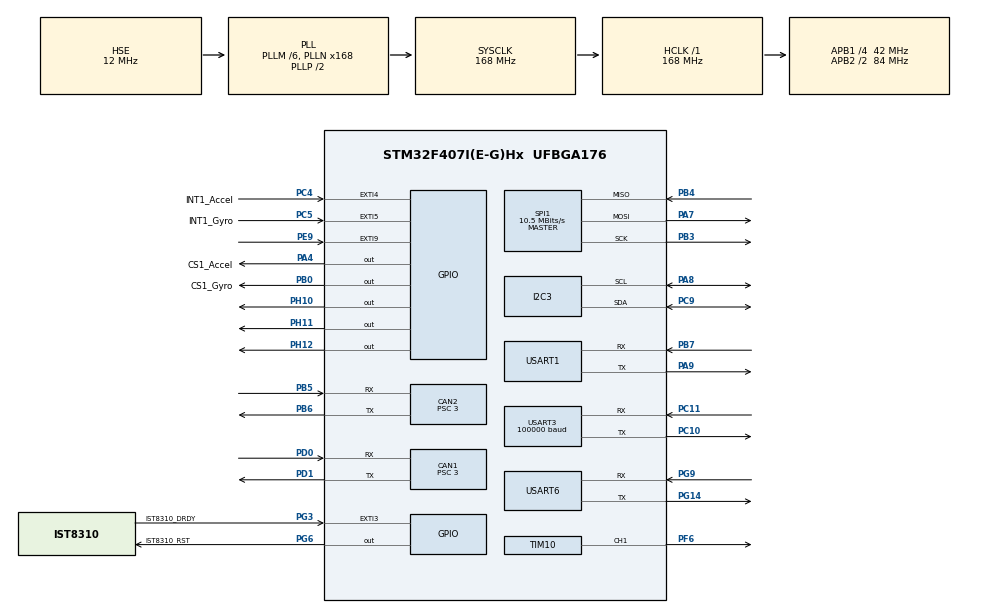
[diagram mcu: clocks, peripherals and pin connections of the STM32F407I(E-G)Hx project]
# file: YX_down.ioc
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CAN1.BS1=CAN_BS1_10TQ
CAN1.BS2=CAN_BS2_3TQ
CAN1.CalculateBaudRate=1000000
CAN1.CalculateTimeBit=1000
CAN1.CalculateTimeQuantum=71.42857142857143
CAN1.Prescaler=3
CAN2.BS1=CAN_BS1_10TQ
CAN2.BS2=CAN_BS2_3TQ
CAN2.CalculateBaudRate=1000000
CAN2.CalculateTimeBit=1000
CAN2.CalculateTimeQuantum=71.42857142857143
CAN2.Prescaler=3
Dma.Request0=USART1_RX
Dma.Request1=USART1_TX
Dma.Request2=USART6_RX
Dma.Request3=USART6_TX
Dma.Request4=USART3_RX
Dma.Request5=USART3_TX
Dma.Request6=SPI1_RX
Dma.Request7=SPI1_TX
Dma.SPI1_RX.6.Direction=DMA_PERIPH_TO_MEMORY
Dma.SPI1_RX.6.FIFOMode=DMA_FIFOMODE_DISABLE
Dma.SPI1_RX.6.Instance=DMA2_Stream0
Dma.SPI1_RX.6.MemDataAlignment=DMA_MDATAALIGN_BYTE
Dma.SPI1_RX.6.MemInc=DMA_MINC_ENABLE
Dma.SPI1_RX.6.Mode=DMA_NORMAL
Dma.SPI1_RX.6.PeriphDataAlignment=DMA_PDATAALIGN_BYTE
Dma.SPI1_RX.6.PeriphInc=DMA_PINC_DISABLE
Dma.SPI1_RX.6.Priority=DMA_PRIORITY_LOW
Dma.SPI1_TX.7.Direction=DMA_MEMORY_TO_PERIPH
Dma.SPI1_TX.7.FIFOMode=DMA_FIFOMODE_DISABLE
Dma.SPI1_TX.7.Instance=DMA2_Stream3
Dma.SPI1_TX.7.MemDataAlignment=DMA_MDATAALIGN_BYTE
Dma.SPI1_TX.7.MemInc=DMA_MINC_ENABLE
Dma.SPI1_TX.7.Mode=DMA_NORMAL
Dma.SPI1_TX.7.PeriphDataAlignment=DMA_PDATAALIGN_BYTE
Dma.SPI1_TX.7.PeriphInc=DMA_PINC_DISABLE
Dma.SPI1_TX.7.Priority=DMA_PRIORITY_LOW
Dma.USART1_RX.0.Direction=DMA_PERIPH_TO_MEMORY
Dma.USART1_RX.0.FIFOMode=DMA_FIFOMODE_DISABLE
Dma.USART1_RX.0.Instance=DMA2_Stream2
Dma.USART1_RX.0.MemDataAlignment=DMA_MDATAALIGN_BYTE
Dma.USART1_RX.0.MemInc=DMA_MINC_ENABLE
Dma.USART1_RX.0.Mode=DMA_CIRCULAR
Dma.USART1_RX.0.PeriphDataAlignment=DMA_PDATAALIGN_BYTE
Dma.USART1_RX.0.PeriphInc=DMA_PINC_DISABLE
Dma.USART1_RX.0.Priority=DMA_PRIORITY_VERY_HIGH
Dma.USART1_TX.1.Direction=DMA_MEMORY_TO_PERIPH
Dma.USART1_TX.1.FIFOMode=DMA_FIFOMODE_DISABLE
Dma.USART1_TX.1.Instance=DMA2_Stream7
Dma.USART1_TX.1.MemDataAlignment=DMA_MDATAALIGN_BYTE
Dma.USART1_TX.1.MemInc=DMA_MINC_ENABLE
Dma.USART1_TX.1.Mode=DMA_CIRCULAR
Dma.USART1_TX.1.PeriphDataAlignment=DMA_PDATAALIGN_BYTE
Dma.USART1_TX.1.PeriphInc=DMA_PINC_DISABLE
Dma.USART1_TX.1.Priority=DMA_PRIORITY_VERY_HIGH
Dma.USART3_RX.4.Direction=DMA_PERIPH_TO_MEMORY
Dma.USART3_RX.4.FIFOMode=DMA_FIFOMODE_DISABLE
Dma.USART3_RX.4.Instance=DMA1_Stream1
Dma.USART3_RX.4.MemDataAlignment=DMA_MDATAALIGN_BYTE
Dma.USART3_RX.4.MemInc=DMA_MINC_ENABLE
Dma.USART3_RX.4.Mode=DMA_CIRCULAR
Dma.USART3_RX.4.PeriphDataAlignment=DMA_PDATAALIGN_BYTE
Dma.USART3_RX.4.PeriphInc=DMA_PINC_DISABLE
Dma.USART3_RX.4.Priority=DMA_PRIORITY_VERY_HIGH
Dma.USART3_TX.5.Direction=DMA_MEMORY_TO_PERIPH
Dma.USART3_TX.5.FIFOMode=DMA_FIFOMODE_DISABLE
Dma.USART3_TX.5.Instance=DMA1_Stream3
Dma.USART3_TX.5.MemDataAlignment=DMA_MDATAALIGN_BYTE
Dma.USART3_TX.5.MemInc=DMA_MINC_ENABLE
Dma.USART3_TX.5.Mode=DMA_NORMAL
Dma.USART3_TX.5.PeriphDataAlignment=DMA_PDATAALIGN_BYTE
Dma.USART3_TX.5.PeriphInc=DMA_PINC_DISABLE
Dma.USART3_TX.5.Priority=DMA_PRIORITY_VERY_HIGH
Dma.USART6_RX.2.Direction=DMA_PERIPH_TO_MEMORY
Dma.USART6_RX.2.FIFOMode=DMA_FIFOMODE_DISABLE
Dma.USART6_RX.2.Instance=DMA2_Stream1
Dma.USART6_RX.2.MemDataAlignment=DMA_MDATAALIGN_BYTE
Dma.USART6_RX.2.MemInc=DMA_MINC_ENABLE
Dma.USART6_RX.2.Mode=DMA_NORMAL
Dma.USART6_RX.2.PeriphDataAlignment=DMA_PDATAALIGN_BYTE
Dma.USART6_RX.2.PeriphInc=DMA_PINC_DISABLE
Dma.USART6_RX.2.Priority=DMA_PRIORITY_VERY_HIGH
Dma.USART6_TX.3.Direction=DMA_MEMORY_TO_PERIPH
Dma.USART6_TX.3.FIFOMode=DMA_FIFOMODE_DISABLE
Dma.USART6_TX.3.Instance=DMA2_Stream6
Dma.USART6_TX.3.MemDataAlignment=DMA_MDATAALIGN_BYTE
Dma.USART6_TX.3.MemInc=DMA_MINC_ENABLE
Dma.USART6_TX.3.Mode=DMA_NORMAL
Dma.USART6_TX.3.PeriphDataAlignment=DMA_PDATAALIGN_BYTE
Dma.USART6_TX.3.PeriphInc=DMA_PINC_DISABLE
Dma.USART6_TX.3.Priority=DMA_PRIORITY_MEDIUM
FREERTOS.INCLUDE_uxTaskGetStackHighWaterMark=1
FREERTOS.Tasks01=defaultTask,0,128,StartDefaultTask,Default,NULL,Dynamic,NULL,NULL
I2C3.I2C_Mode=I2C_Fast
Mcu.Family=STM32F4
Mcu.Name=STM32F407I(E-G)Hx
Mcu.Package=UFBGA176
NVIC.CAN1_RX0_IRQn=true\:5\:0\:false\:false\:true\:true\:true\:true\:true
NVIC.CAN1_TX_IRQn=true\:5\:0\:false\:false\:true\:true\:true\:true\:true
NVIC.CAN2_RX0_IRQn=true\:5\:0\:false\:false\:true\:true\:true\:true\:true
NVIC.CAN2_TX_IRQn=true\:5\:0\:false\:false\:true\:true\:true\:true\:true
NVIC.DMA1_Stream1_IRQn=true\:5\:0\:false\:false\:true\:true\:false\:true\:true
NVIC.DMA1_Stream3_IRQn=true\:5\:0\:false\:false\:true\:true\:false\:true\:true
NVIC.DMA2_Stream0_IRQn=true\:5\:0\:false\:false\:true\:true\:false\:true\:true
NVIC.DMA2_Stream1_IRQn=true\:5\:0\:false\:false\:true\:true\:false\:true\:true
NVIC.DMA2_Stream2_IRQn=true\:5\:0\:false\:false\:true\:true\:false\:true\:true
NVIC.DMA2_Stream3_IRQn=true\:5\:0\:false\:false\:true\:true\:false\:true\:true
NVIC.DMA2_Stream6_IRQn=true\:5\:0\:false\:false\:true\:true\:false\:true\:true
NVIC.DMA2_Stream7_IRQn=true\:5\:0\:false\:false\:true\:true\:false\:true\:true
NVIC.EXTI3_IRQn=true\:5\:0\:false\:false\:true\:true\:true\:true\:true
NVIC.EXTI4_IRQn=true\:5\:0\:false\:false\:true\:true\:true\:true\:true
NVIC.EXTI9_5_IRQn=true\:5\:0\:false\:false\:true\:true\:true\:true\:true
NVIC.PriorityGroup=NVIC_PRIORITYGROUP_4
NVIC.SPI1_IRQn=true\:5\:0\:false\:false\:true\:true\:true\:true\:true
NVIC.TIM1_BRK_TIM9_IRQn=true\:5\:0\:false\:false\:true\:true\:true\:true\:true
NVIC.TIM2_IRQn=true\:5\:0\:false\:false\:true\:true\:true\:true\:true
NVIC.TIM3_IRQn=true\:15\:0\:false\:false\:true\:false\:false\:true\:true
NVIC.TIM8_BRK_TIM12_IRQn=true\:5\:0\:false\:false\:true\:true\:true\:true\:true
NVIC.TIM8_UP_TIM13_IRQn=true\:5\:0\:false\:false\:true\:true\:true\:true\:true
NVIC.TimeBase=TIM3_IRQn
NVIC.TimeBaseIP=TIM3
NVIC.USART1_IRQn=true\:5\:0\:false\:false\:true\:true\:true\:true\:true
NVIC.USART3_IRQn=true\:5\:0\:false\:false\:true\:true\:true\:true\:true
NVIC.USART6_IRQn=true\:5\:0\:false\:false\:true\:true\:true\:true\:true
PA13.Mode=Serial_Wire
PA13.Signal=SYS_JTMS-SWDIO
PA14.Mode=Serial_Wire
PA14.Signal=SYS_JTCK-SWCLK
PA4.GPIO_Label=CS1_Accel
PA4.GPIO_PuPd=GPIO_PULLUP
PA4.GPIO_Speed=GPIO_SPEED_FREQ_HIGH
PA4.PinState=GPIO_PIN_SET
PA4.Signal=GPIO_Output
PA7.Mode=Full_Duplex_Master
PA7.Signal=SPI1_MOSI
PA8.Mode=I2C
PA8.Signal=I2C3_SCL
PA9.Mode=Asynchronous
PA9.Signal=USART1_TX
PB0.GPIO_Label=CS1_Gyro
PB0.GPIO_PuPd=GPIO_PULLUP
PB0.GPIO_Speed=GPIO_SPEED_FREQ_HIGH
PB0.PinState=GPIO_PIN_SET
PB0.Signal=GPIO_Output
PB3.Mode=Full_Duplex_Master
PB3.Signal=SPI1_SCK
PB4.Mode=Full_Duplex_Master
PB4.Signal=SPI1_MISO
PB5.Mode=CAN_Activate
PB5.Signal=CAN2_RX
PB6.Mode=CAN_Activate
PB6.Signal=CAN2_TX
PB7.Mode=Asynchronous
PB7.Signal=USART1_RX
PC10.Mode=Asynchronous
PC10.Signal=USART3_TX
PC11.Mode=Asynchronous
PC11.Signal=USART3_RX
PC4.GPIO_Label=INT1_Accel
PC4.GPIO_PuPd=GPIO_PULLUP
PC4.Signal=GPXTI4
PC5.GPIO_Label=INT1_Gyro
PC5.GPIO_PuPd=GPIO_PULLUP
PC5.Signal=GPXTI5
PC9.Mode=I2C
PC9.Signal=I2C3_SDA
PD0.Mode=CAN_Activate
PD0.Signal=CAN1_RX
PD1.Mode=CAN_Activate
PD1.Signal=CAN1_TX
PE9.GPIO_PuPd=GPIO_PULLUP
PE9.Signal=GPXTI9
PF6.GPIO_PuPd=GPIO_PULLUP
PF6.GPIO_Speed=GPIO_SPEED_FREQ_HIGH
PF6.Signal=S_TIM10_CH1
PG14.GPIO_PuPd=GPIO_PULLUP
PG14.Mode=Asynchronous
PG14.Signal=USART6_TX
PG3.GPIO_Label=IST8310_DRDY
PG3.GPIO_PuPd=GPIO_PULLUP
PG3.Signal=GPXTI3
PG6.GPIO_Label=IST8310_RST
PG6.GPIO_PuPd=GPIO_PULLUP
PG6.GPIO_Speed=GPIO_SPEED_FREQ_MEDIUM
PG6.PinState=GPIO_PIN_SET
PG6.Signal=GPIO_Output
PG9.GPIO_PuPd=GPIO_PULLUP
PG9.Mode=Asynchronous
PG9.Signal=USART6_RX
PH0-OSC_IN.Mode=HSE-External-Oscillator
PH0-OSC_IN.Signal=RCC_OSC_IN
PH1-OSC_OUT.Mode=HSE-External-Oscillator
PH1-OSC_OUT.Signal=RCC_OSC_OUT
PH10.GPIO_PuPd=GPIO_PULLUP
PH10.Signal=GPIO_Output
PH11.GPIO_PuPd=GPIO_PULLUP
PH11.Signal=GPIO_Output
PH12.GPIO_PuPd=GPIO_PULLUP
PH12.Signal=GPIO_Output
ProjectManager.HeapSize=0x200
ProjectManager.StackSize=0x400
ProjectManager.TargetToolchain=MDK-ARM V5.32
RCC.48MHZClocksFreq_Value=84000000
RCC.AHBFreq_Value=168000000
RCC.APB1CLKDivider=RCC_HCLK_DIV4
RCC.APB1Freq_Value=42000000
RCC.APB1TimFreq_Value=84000000
RCC.APB2CLKDivider=RCC_HCLK_DIV2
RCC.APB2Freq_Value=84000000
RCC.APB2TimFreq_Value=168000000
RCC.CortexFreq_Value=168000000
RCC.HCLKFreq_Value=168000000
RCC.HSE_VALUE=12000000
RCC.HSI_VALUE=16000000
RCC.LSE_VALUE=32768
RCC.PLLM=6
RCC.PLLN=168
RCC.PLLSourceVirtual=RCC_PLLSOURCE_HSE
RCC.SYSCLKFreq_VALUE=168000000
RCC.SYSCLKSource=RCC_SYSCLKSOURCE_PLLCLK
RCC.VCOOutputFreq_Value=336000000
SH.S_TIM10_CH1.0=TIM10_CH1,PWM Generation1 CH1
SPI1.BaudRatePrescaler=SPI_BAUDRATEPRESCALER_8
SPI1.CLKPhase=SPI_PHASE_2EDGE
SPI1.CLKPolarity=SPI_POLARITY_HIGH
SPI1.CalculateBaudRate=10.5 MBits/s
SPI1.Direction=SPI_DIRECTION_2LINES
SPI1.Mode=SPI_MODE_MASTER
SPI1.VirtualType=VM_MASTER
TIM1.Period=100-1
TIM1.Prescaler=16800-1
TIM10.Channel=TIM_CHANNEL_1
TIM10.Period=5000-1
TIM2.Period=100-1
TIM2.Prescaler=8400
TIM8.Period=100-1
TIM8.Prescaler=16800-1
TIM9.Period=100-1
TIM9.Prescaler=16800-1
USART1.VirtualMode=VM_ASYNC
USART3.BaudRate=100000
USART3.VirtualMode=VM_ASYNC
USART6.VirtualMode=VM_ASYNC
VP_FREERTOS_VS_CMSIS_V1.Mode=CMSIS_V1
VP_SYS_VS_tim3.Mode=TIM3
VP_TIM10_VS_ClockSourceINT.Mode=Enable_Timer
VP_TIM1_VS_ClockSourceINT.Mode=Internal
VP_TIM2_VS_ClockSourceINT.Mode=Internal
VP_TIM8_VS_ClockSourceINT.Mode=Internal
VP_TIM9_VS_ClockSourceINT.Mode=Internal
board=custom

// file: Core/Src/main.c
/* USER CODE BEGIN Header */
/**
  ******************************************************************************
  * @file           : main.c
  * @brief          : Main program body
  ******************************************************************************
  * @attention
  *
  * Copyright (c) 2023 STMicroelectronics.
  * All rights reserved.
  *
  * This software is licensed under terms that can be found in the LICENSE file
  * in the root directory of this software component.
  * If no LICENSE file comes with this software, it is provided AS-IS.
  *
  ******************************************************************************
  */
/* USER CODE END Header */
#include "main.h"
#include "cmsis_os.h"
#include "can.h"
#include "dma.h"
#include "i2c.h"
#include "spi.h"
#include "tim.h"
#include "usart.h"
#include "gpio.h"

/* USER CODE BEGIN Includes */
#include "INS_task.h"
#include "drv_can.h"
#include "drv_usart.h"
#
/* USER CODE END Includes */

void SystemClock_Config(void);
void MX_FREERTOS_Init(void);

/* USER CODE BEGIN 0 */
//全局变量
uint16_t can_cnt_2;
float target_speed[7]={0};//实测最大空载转速320rpm
float target_speed_can_2[7]={0};//实测最大空载转速320rpm
moto_info_t motor_info[MOTOR_MAX_NUM];		//赋予最大的7个字节
moto_info_t motor_info_can_2[MOTOR_MAX_NUM];		//赋予最大的7个字节

uint8_t can_flag=0;
double step=9158/660;
double r;
double target_v;
int16_t target_int1;
int16_t target_int2;//用于叠加旋转和直行
double target_curl;
float yuntai_step=60*(1024-364);

//拨盘
float time=100;//时间
float time_count;//时间计数值
uint8_t flag_shoot;//标志位
float round_shoot;//转动圈数
float down;
float up;

//Yaw轴
int16_t target_angle=4096;
int16_t err_angle;
int16_t max_yaw_speed;
float small;
float angle_limit =8191;//转角的最大值

uint8_t rx_data[8];
/* USER CODE END 0 */

int main(void)
{

  /* MCU Configuration--------------------------------------------------------*/

  /* Reset of all peripherals, Initializes the Flash interface and the Systick. */
  HAL_Init();

  /* Configure the system clock */
  SystemClock_Config();

  /* Initialize all configured peripherals */
  MX_GPIO_Init();
  MX_DMA_Init();
  MX_TIM1_Init();
  MX_TIM2_Init();
  MX_TIM8_Init();
  MX_TIM9_Init();
  MX_CAN1_Init();
  MX_CAN2_Init();
  MX_USART1_UART_Init();
  MX_USART6_UART_Init();
  MX_USART3_UART_Init();
  MX_I2C3_Init();
  MX_SPI1_Init();
  MX_TIM10_Init();
  /* USER CODE BEGIN 2 */
	HAL_TIM_PWM_Start(&htim10,TIM_CHANNEL_1);
	HAL_NVIC_SetPriority(TIM2_IRQn, 0, 0);//修改TIM2中断优先级
//	HAL_NVIC_SetPriority(SysTick_IRQn,1,1);//调高HAL_Delay的时钟中断优先级
	CAN1_Init();
  CAN2_Init();
  USART6_Init();
	USART3_Init();
  /* USER CODE END 2 */

  /* Call init function for freertos objects (in freertos.c) */
  MX_FREERTOS_Init();

  /* Start scheduler */
  osKernelStart();

  /* We should never get here as control is now taken by the scheduler */
  /* Infinite loop */
  while (1)
  {

  }
}

void SystemClock_Config(void)
{
  RCC_OscInitTypeDef RCC_OscInitStruct = {0};
  RCC_ClkInitTypeDef RCC_ClkInitStruct = {0};

  /** Configure the main internal regulator output voltage
  */
  __HAL_RCC_PWR_CLK_ENABLE();
  __HAL_PWR_VOLTAGESCALING_CONFIG(PWR_REGULATOR_VOLTAGE_SCALE1);

  /** Initializes the RCC Oscillators according to the specified parameters
  * in the RCC_OscInitTypeDef structure.
  */
  RCC_OscInitStruct.OscillatorType = RCC_OSCILLATORTYPE_HSE;
  RCC_OscInitStruct.HSEState = RCC_HSE_ON;
  RCC_OscInitStruct.PLL.PLLState = RCC_PLL_ON;
  RCC_OscInitStruct.PLL.PLLSource = RCC_PLLSOURCE_HSE;
  RCC_OscInitStruct.PLL.PLLM = 6;
  RCC_OscInitStruct.PLL.PLLN = 168;
  RCC_OscInitStruct.PLL.PLLP = RCC_PLLP_DIV2;
  RCC_OscInitStruct.PLL.PLLQ = 4;
  if (HAL_RCC_OscConfig(&RCC_OscInitStruct) != HAL_OK)
  {
    Error_Handler();
  }

  /** Initializes the CPU, AHB and APB buses clocks
  */
  RCC_ClkInitStruct.ClockType = RCC_CLOCKTYPE_HCLK|RCC_CLOCKTYPE_SYSCLK
                              |RCC_CLOCKTYPE_PCLK1|RCC_CLOCKTYPE_PCLK2;
  RCC_ClkInitStruct.SYSCLKSource = RCC_SYSCLKSOURCE_PLLCLK;
  RCC_ClkInitStruct.AHBCLKDivider = RCC_SYSCLK_DIV1;
  RCC_ClkInitStruct.APB1CLKDivider = RCC_HCLK_DIV4;
  RCC_ClkInitStruct.APB2CLKDivider = RCC_HCLK_DIV2;

  if (HAL_RCC_ClockConfig(&RCC_ClkInitStruct, FLASH_LATENCY_5) != HAL_OK)
  {
    Error_Handler();
  }
}

void HAL_TIM_PeriodElapsedCallback(TIM_HandleTypeDef *htim)
{
  if (htim->Instance == TIM3) {
    HAL_IncTick();
  }
}

void Error_Handler(void)
{
  __disable_irq();
  while (1)
  {
  }
}

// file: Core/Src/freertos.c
/* USER CODE BEGIN Header */
/**
  ******************************************************************************
  * File Name          : freertos.c
  * Description        : Code for freertos applications
  ******************************************************************************
  * @attention
  *
  * Copyright (c) 2023 STMicroelectronics.
  * All rights reserved.
  *
  * This software is licensed under terms that can be found in the LICENSE file
  * in the root directory of this software component.
  * If no LICENSE file comes with this software, it is provided AS-IS.
  *
  ******************************************************************************
  */
/* USER CODE END Header */

#include "FreeRTOS.h"
#include "task.h"
#include "main.h"
#include "cmsis_os.h"

/* USER CODE BEGIN Includes */
#include "rc_potocal.h"
#include "arm_math.h"
#include "INS_task.h"
#include "Chassis_task.h"
/* USER CODE END Includes */

/* USER CODE BEGIN Variables */
osThreadId insTaskHandle;
osThreadId Chassis_taskHandle;

/* USER CODE END Variables */
osThreadId defaultTaskHandle;

void StartDefaultTask(void const * argument);

void MX_FREERTOS_Init(void); /* (MISRA C 2004 rule 8.1) */

/* GetIdleTaskMemory prototype (linked to static allocation support) */
void vApplicationGetIdleTaskMemory( StaticTask_t **ppxIdleTaskTCBBuffer, StackType_t **ppxIdleTaskStackBuffer, uint32_t *pulIdleTaskStackSize );

/* USER CODE BEGIN GET_IDLE_TASK_MEMORY */
static StaticTask_t xIdleTaskTCBBuffer;
static StackType_t xIdleStack[configMINIMAL_STACK_SIZE];

void vApplicationGetIdleTaskMemory( StaticTask_t **ppxIdleTaskTCBBuffer, StackType_t **ppxIdleTaskStackBuffer, uint32_t *pulIdleTaskStackSize )
{
  *ppxIdleTaskTCBBuffer = &xIdleTaskTCBBuffer;
  *ppxIdleTaskStackBuffer = &xIdleStack[0];
  *pulIdleTaskStackSize = configMINIMAL_STACK_SIZE;
  /* place for user code */
}
/* USER CODE END GET_IDLE_TASK_MEMORY */

void MX_FREERTOS_Init(void) {

  /* Create the thread(s) */
  /* definition and creation of defaultTask */
  osThreadDef(defaultTask, StartDefaultTask, osPriorityNormal, 0, 128);
  defaultTaskHandle = osThreadCreate(osThread(defaultTask), NULL);

  /* USER CODE BEGIN RTOS_THREADS */
	osThreadDef(imutask, INS_Task,  osPriorityRealtime, 0, 1024);	//НУВЭТЗЅвЛгИООс
  insTaskHandle = osThreadCreate(osThread(imutask), NULL);

	osThreadDef(Chassistask, Chassis_task, osPriorityIdle, 0, 128);		//µЧЕМТЖ¶ЇИООс
  Chassis_taskHandle = osThreadCreate(osThread(Chassistask), NULL);

  /* add threads, ... */
  /* USER CODE END RTOS_THREADS */

}

void StartDefaultTask(void const * argument)
{
  /* USER CODE BEGIN StartDefaultTask */
	HAL_GPIO_WritePin(GPIOH,GPIO_PIN_11,GPIO_PIN_SET);
  /* Infinite loop */
  for(;;)
  {
    osDelay(1);
  }
  /* USER CODE END StartDefaultTask */
}
